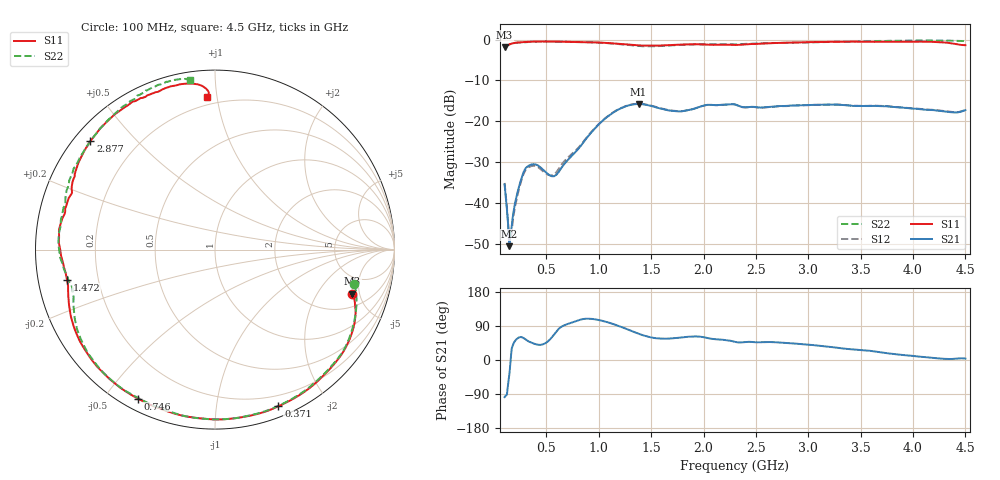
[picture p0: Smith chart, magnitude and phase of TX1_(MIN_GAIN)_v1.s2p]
! Created Tue Apr 16 20:08:48 2013
# ghz S ma R 50
! 2 Port Network Data from SP1.SP block
! freq  magS11  angS11  magS21  angS21  magS12  angS12  magS22  angS22
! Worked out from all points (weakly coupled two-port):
!   4401 points, 100 MHz to 4.5 GHz, reference 50 ohm
!   highest |S21| = -15.77 dB at 1.379 GHz (marker M1); lowest = -50.6 dB at 145 MHz (marker M2)
!   lowest |S11| = -1.9 dB at 100 MHz (marker M3), VSWR 9.16, Z = 153 - j212 ohm
!   |S11| at or under -10 dB: nowhere
!   |S22| runs from -2.0 to -0.2 dB; largest |S21 - S12| = 0.0026
!   S11 on the Smith chart (normalised r, x): 100 MHz: 3.06, -4.24; 371 MHz: 0.10, -1.48; 746 MHz: 0.05, -0.61; 1.472 GHz: 0.09, -0.10; 2.877 GHz: 0.05, +0.37; 4.5 GHz: 0.15, +0.94
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0.1  0.8032 -17.8  0.01681 -97.9  0.01757 -98.2  0.798 -14.0
0.133  0.8569 -23.9  0.005587 -64.1  0.005779 -71.3  0.8519 -22.5
0.145  0.8716 -26.4  0.002958 -41.3  0.003009 -57.0  0.8682 -26.2
0.163  0.8884 -30.1  0.004645 17.0  0.004064 11.4  0.8867 -30.9
0.206  0.9133 -38.4  0.01085 52.5  0.009864 53.1  0.9103 -38.4
0.269  0.9277 -50.3  0.02159 59.5  0.02058 61.6  0.9241 -51.0
0.311  0.9357 -57.6  0.02742 52.1  0.02624 53.8  0.9322 -57.9
0.371  0.9416 -68.0  0.02987 44.2  0.02859 46.2  0.9392 -68.1
0.568  0.9435 -96.9  0.02121 65.6  0.02216 71.7  0.944 -96.3
0.746  0.9346 -117.4  0.03832 99.3  0.0402 98.5  0.9317 -115.2
0.834  0.931 -126.2  0.0512 107.2  0.05238 106.2  0.9319 -123.8
1.116  0.9002 -149.9  0.1223 96.8  0.1231 96.5  0.8972 -146.8
1.379  0.8485 -164.8  0.1627 69.5  0.1638 69.3  0.8316 -161.3
1.472  0.8419 -168.6  0.1571 61.3  0.158 61.2  0.8246 -164.2
1.567  0.844 -172.1  0.1454 57.0  0.1465 56.6  0.8316 -167.6
1.784  0.8662 178.8  0.132 59.4  0.1325 58.9  0.8608 -176.3
2.3  0.8569 158.4  0.1608 47.8  0.1602 47.5  0.8719 163.3
2.877  0.9208 139.0  0.1563 43.2  0.1555 43.4  0.9161 142.0
3.034  0.9298 133.4  0.1584 39.7  0.1581 40.0  0.9237 136.7
3.767  0.9369 110.5  0.1515 17.4  0.1525 17.4  0.9633 114.1
4.222  0.9327 97.6  0.1357 4.8  0.1367 4.5  0.973 103.9
4.5  0.8519 92.8  0.1368 3.7  0.1372 3.4  0.9562 98.5
